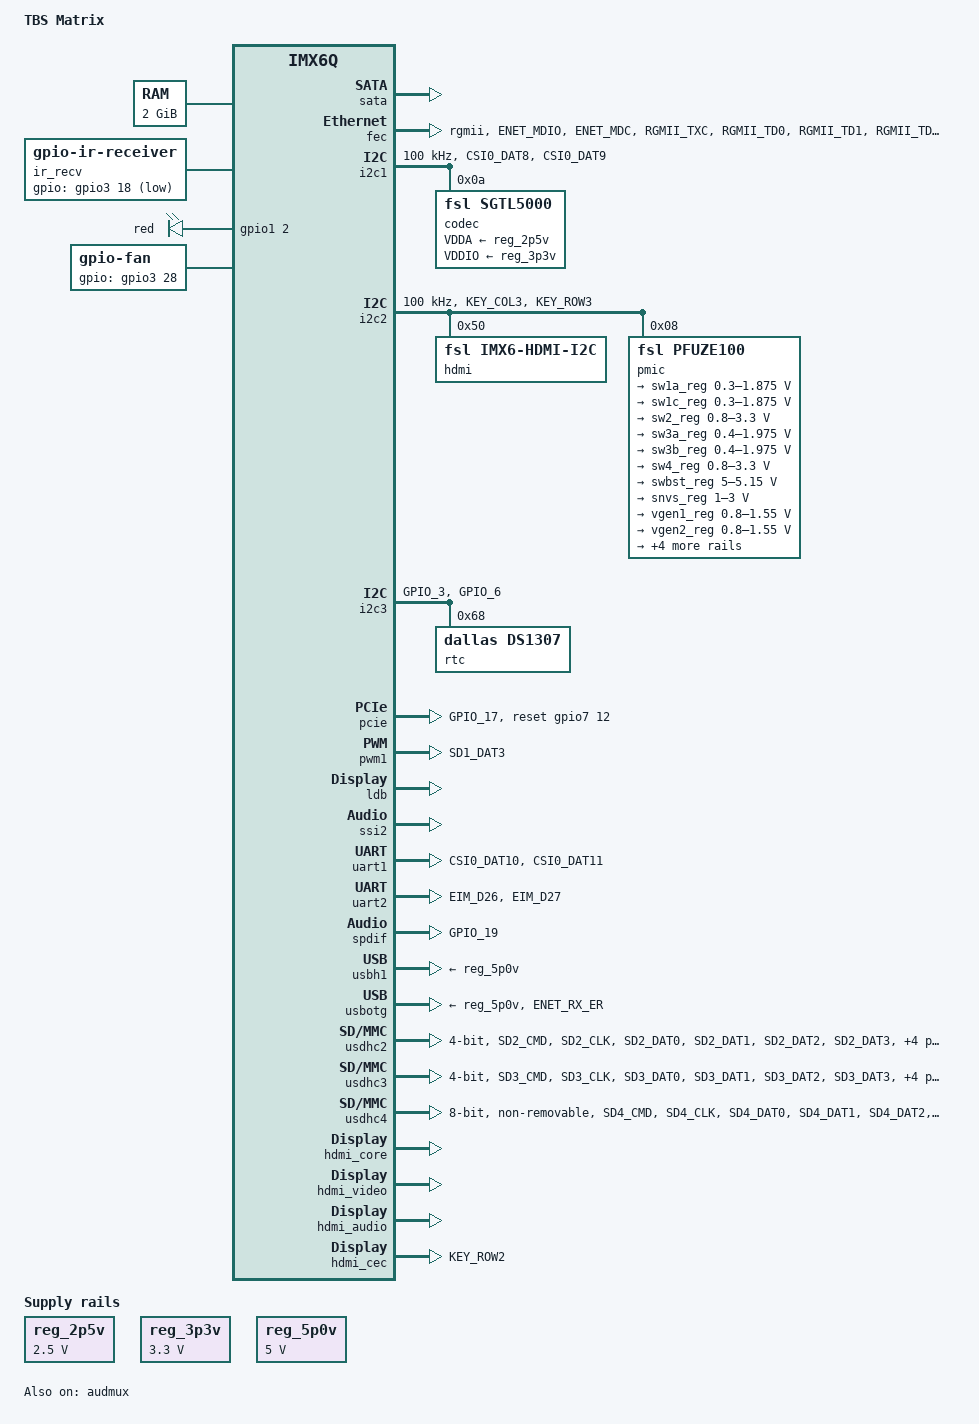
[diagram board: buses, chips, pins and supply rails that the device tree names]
/*
 * Copyright 2012 Freescale Semiconductor, Inc.
 * Copyright 2011 Linaro Ltd.
 *
 * The code contained herein is licensed under the GNU General Public
 * License. You may obtain a copy of the GNU General Public License
 * Version 2 or later at the following locations:
 *
 * http://www.opensource.org/licenses/gpl-license.html
 * http://www.gnu.org/copyleft/gpl.html
 */

/dts-v1/;

#include "imx6q.dtsi"
#include <dt-bindings/gpio/gpio.h>
#include <dt-bindings/input/input.h>

/ {
	model = "TBS Matrix";
	compatible = "fsl,imx6q-sabresd", "fsl,imx6q";

	aliases {
		mxcfb0 = &mxcfb1;
		mxcfb1 = &mxcfb2;
		mxcfb2 = &mxcfb3;
		mxcfb3 = &mxcfb4;
		mmc0 = &usdhc4;
	};

	chosen {
		stdout-path = &uart1;
	};

	memory {
		reg = <0x10000000 0x80000000>;
	};

	regulators {
		compatible = "simple-bus";
		#address-cells = <1>;
		#size-cells = <0>;

		reg_2p5v: regulator@0 {
			compatible = "regulator-fixed";
			reg = <0>;
			regulator-name = "2P5V";
			regulator-min-microvolt = <2500000>;
			regulator-max-microvolt = <2500000>;
		};

		reg_3p3v: regulator@1 {
			compatible = "regulator-fixed";
			reg = <1>;
			regulator-name = "3P3V";
			regulator-min-microvolt = <3300000>;
			regulator-max-microvolt = <3300000>;
		};

		reg_5p0v: regulator@2 {
			compatible = "regulator-fixed";
			reg = <2>;
			regulator-name = "5P0V";
			regulator-min-microvolt = <5000000>;
			regulator-max-microvolt = <5000000>;
		};
	};

	ir_recv: ir-receiver {
		compatible = "gpio-ir-receiver";
		gpios = <&gpio3 18 GPIO_ACTIVE_LOW>;
		pinctrl-names = "default";
		pinctrl-0 = <&pinctrl_ir>;
		linux,rc-map-name = "rc-rc6-mce";
	};

	leds {
		compatible = "gpio-leds";
		pinctrl-names = "default";
		pinctrl-0 = <&pinctrl_gpio_leds>;

		red {
			label = "red";
			gpios = <&gpio1 2 GPIO_ACTIVE_HIGH>;
			linux,default-trigger = "heartbeat";
		};
	};

	fan {
		compatible = "gpio-fan";
		pinctrl-names = "default";
		pinctrl-0 = <&pinctrl_gpio_fan>;
		gpios = <&gpio3 28 GPIO_ACTIVE_HIGH>;
		gpio-fan,speed-map = <0    0
		                      3000 1>;
	};

	sound {
		compatible = "fsl,imx-audio-sgtl5000";
		model = "imx-sgtl5000";
		cpu-dai = <&ssi2>;
		audio-codec = <&codec>;
		audio-routing = "MIC_IN", "Mic Jack",
		                "Mic Jack", "Mic Bias",
		                "Headphone Jack", "HP_OUT";
		mux-int-port = <2>;
		mux-ext-port = <3>;
	};

	sound-spdif {
		compatible = "fsl,imx-audio-spdif";
		model = "imx-spdif";
		spdif-controller = <&spdif>;
		spdif-out;
	};

	sound-hdmi {
		compatible = "fsl,imx6q-audio-hdmi",
		             "fsl,imx-audio-hdmi";
		model = "imx-audio-hdmi";
		hdmi-controller = <&hdmi_audio>;
	};

	mxcfb1: fb@0 {
		compatible = "fsl,mxc_sdc_fb";
		disp_dev = "ldb";
		interface_pix_fmt = "RGB666";
		mode_str ="LDB-XGA";
		default_bpp = <16>;
		int_clk = <0>;
		late_init = <0>;
		status = "okay";
	};

	mxcfb2: fb@1 {
		compatible = "fsl,mxc_sdc_fb";
		disp_dev = "hdmi";
		interface_pix_fmt = "RGB24";
		mode_str ="1920x1080M@60";
		default_bpp = <24>;
		int_clk = <0>;
		late_init = <0>;
		status = "disabled";
	};

	mxcfb3: fb@2 {
		compatible = "fsl,mxc_sdc_fb";
		disp_dev = "lcd";
		interface_pix_fmt = "RGB565";
		mode_str ="CLAA-WVGA";
		default_bpp = <16>;
		int_clk = <0>;
		late_init = <0>;
		status = "disabled";
	};

	mxcfb4: fb@3 {
		compatible = "fsl,mxc_sdc_fb";
		disp_dev = "ldb";
		interface_pix_fmt = "RGB666";
		mode_str ="LDB-XGA";
		default_bpp = <16>;
		int_clk = <0>;
		late_init = <0>;
		status = "disabled";
	};

	v4l2_out {
		compatible = "fsl,mxc_v4l2_output";
		status = "okay";
	};

	restart_poweroff {
		compatible = "fsl,snvs-poweroff";
	};
};

&sata {
	status = "okay";
};

&audmux {
	pinctrl-names = "default";
	pinctrl-0 = <&pinctrl_audmux>;
	status = "okay";
};

&fec {
	pinctrl-names = "default";
	pinctrl-0 = <&pinctrl_enet>;
	phy-mode = "rgmii";
	phy-reset-gpios = <&gpio1 25 GPIO_ACTIVE_HIGH>;
	status = "okay";
};

&i2c1 {
	clock-frequency = <100000>;
	pinctrl-names = "default";
	pinctrl-0 = <&pinctrl_i2c1>;
	status = "okay";

	codec: sgtl5000@0a {
		clocks = <&clks 201>;
		compatible = "fsl,sgtl5000";
		reg = <0x0a>;
		pinctrl-names = "default";
		pinctrl-0 = <&pinctrl_sgtl5000>;
		VDDA-supply = <&reg_2p5v>;
		VDDIO-supply = <&reg_3p3v>;
	};
};

&i2c2 {
	clock-frequency = <100000>;
	pinctrl-names = "default";
	pinctrl-0 = <&pinctrl_i2c2>;
	status = "okay";

	hdmi: edid@50 {
		compatible = "fsl,imx6-hdmi-i2c";
		reg = <0x50>;
	};

	pmic: pfuze100@08 {
		compatible = "fsl,pfuze100";
		reg = <0x08>;

		regulators {
			sw1a_reg: sw1ab {
				regulator-min-microvolt = <300000>;
				regulator-max-microvolt = <1875000>;
				regulator-boot-on;
				regulator-always-on;
				regulator-ramp-delay = <6250>;
			};

			sw1c_reg: sw1c {
				regulator-min-microvolt = <300000>;
				regulator-max-microvolt = <1875000>;
				regulator-boot-on;
				regulator-always-on;
				regulator-ramp-delay = <6250>;
			};

			sw2_reg: sw2 {
				regulator-min-microvolt = <800000>;
				regulator-max-microvolt = <3300000>;
				regulator-boot-on;
				regulator-always-on;
			};

			sw3a_reg: sw3a {
				regulator-min-microvolt = <400000>;
				regulator-max-microvolt = <1975000>;
				regulator-boot-on;
				regulator-always-on;
			};

			sw3b_reg: sw3b {
				regulator-min-microvolt = <400000>;
				regulator-max-microvolt = <1975000>;
				regulator-boot-on;
				regulator-always-on;
			};

			sw4_reg: sw4 {
				regulator-min-microvolt = <800000>;
				regulator-max-microvolt = <3300000>;
			};

			swbst_reg: swbst {
				regulator-min-microvolt = <5000000>;
				regulator-max-microvolt = <5150000>;
			};

			snvs_reg: vsnvs {
				regulator-min-microvolt = <1000000>;
				regulator-max-microvolt = <3000000>;
				regulator-boot-on;
				regulator-always-on;
			};

			vref_reg: vrefddr {
				regulator-boot-on;
				regulator-always-on;
			};

			vgen1_reg: vgen1 {
				regulator-min-microvolt = <800000>;
				regulator-max-microvolt = <1550000>;
			};

			vgen2_reg: vgen2 {
				regulator-min-microvolt = <800000>;
				regulator-max-microvolt = <1550000>;
			};

			vgen3_reg: vgen3 {
				regulator-min-microvolt = <1800000>;
				regulator-max-microvolt = <3300000>;
			};

			vgen4_reg: vgen4 {
				regulator-min-microvolt = <1800000>;
				regulator-max-microvolt = <3300000>;
				regulator-always-on;
			};

			vgen5_reg: vgen5 {
				regulator-min-microvolt = <1800000>;
				regulator-max-microvolt = <3300000>;
				regulator-always-on;
			};

			vgen6_reg: vgen6 {
				regulator-min-microvolt = <1800000>;
				regulator-max-microvolt = <3300000>;
				regulator-always-on;
			};
		};
	};
};

&i2c3 {
	pinctrl-names = "default";
	pinctrl-0 = <&pinctrl_i2c3>;
	status = "okay";

	rtc: ds1307@68 {
		compatible = "dallas,ds1307";
		reg = <0x68>;
	};
};

&iomuxc {
	pinctrl-names = "default";
	pinctrl-0 = <&pinctrl_hog>;

	imx6qdl-sabresd {
		pinctrl_hog: hoggrp {
			fsl,pins = <
				MX6QDL_PAD_NANDF_CS0__GPIO6_IO11  0x80000000  /* HUB_GPIO_RST */
				MX6QDL_PAD_NANDF_CS1__GPIO6_IO14  0x80000000  /* eMMC_RST */
			>;
		};

		pinctrl_sgtl5000: sgtl5000grp {
			fsl,pins = <
				MX6QDL_PAD_GPIO_0__CCM_CLKO1      0x130b0
			>;
		};

		pinctrl_audmux: audmuxgrp {
			fsl,pins = <
				MX6QDL_PAD_CSI0_DAT7__AUD3_RXD    0x130b0
				MX6QDL_PAD_CSI0_DAT4__AUD3_TXC    0x130b0
				MX6QDL_PAD_CSI0_DAT5__AUD3_TXD    0x110b0
				MX6QDL_PAD_CSI0_DAT6__AUD3_TXFS   0x130b0
			>;
		};

		pinctrl_ecspi1: ecspi1grp {
			fsl,pins = <
				MX6QDL_PAD_KEY_COL1__ECSPI1_MISO  0x100b1
				MX6QDL_PAD_KEY_ROW0__ECSPI1_MOSI  0x100b1
				MX6QDL_PAD_KEY_COL0__ECSPI1_SCLK  0x100b1
			>;
		};

		pinctrl_enet: enetgrp {
			fsl,pins = <
				MX6QDL_PAD_ENET_MDIO__ENET_MDIO       0x1b0b0
				MX6QDL_PAD_ENET_MDC__ENET_MDC         0x1b0b0
				MX6QDL_PAD_RGMII_TXC__RGMII_TXC       0x1b0b0
				MX6QDL_PAD_RGMII_TD0__RGMII_TD0       0x1b0b0
				MX6QDL_PAD_RGMII_TD1__RGMII_TD1       0x1b0b0
				MX6QDL_PAD_RGMII_TD2__RGMII_TD2       0x1b0b0
				MX6QDL_PAD_RGMII_TD3__RGMII_TD3       0x1b0b0
				MX6QDL_PAD_RGMII_TX_CTL__RGMII_TX_CTL 0x1b0b0
				MX6QDL_PAD_ENET_REF_CLK__ENET_TX_CLK  0x1b0b0
				MX6QDL_PAD_RGMII_RXC__RGMII_RXC       0x1b0b0
				MX6QDL_PAD_RGMII_RD0__RGMII_RD0       0x1b0b0
				MX6QDL_PAD_RGMII_RD1__RGMII_RD1       0x1b0b0
				MX6QDL_PAD_RGMII_RD2__RGMII_RD2       0x1b0b0
				MX6QDL_PAD_RGMII_RD3__RGMII_RD3       0x1b0b0
				MX6QDL_PAD_RGMII_RX_CTL__RGMII_RX_CTL 0x1b0b0
				MX6QDL_PAD_GPIO_16__ENET_REF_CLK      0x4001b0a8
				MX6QDL_PAD_ENET_CRS_DV__GPIO1_IO25    0x1b059
			>;
		};

		pinctrl_ir: sabresd-ir {
			fsl,pins = <
				MX6QDL_PAD_EIM_D18__GPIO3_IO18  0x17059
			>;
		};

		pinctrl_sabresd_spdif: sabresd-spdif {
			fsl,pins = <MX6QDL_PAD_GPIO_19__SPDIF_OUT  0x13091>;
		};

		pinctrl_hdmi_cec: hdmi_cecgrp {
			fsl,pins = <
				MX6QDL_PAD_KEY_ROW2__HDMI_TX_CEC_LINE  0x1f8b0
			>;
		};

		pinctrl_hdmi_hdcp: hdmi_hdcpgrp {
			fsl,pins = <
				MX6QDL_PAD_KEY_COL3__HDMI_TX_DDC_SCL  0x4001b8b1
				MX6QDL_PAD_KEY_ROW3__HDMI_TX_DDC_SDA  0x4001b8b1
			>;
		};

		pinctrl_i2c1: i2c1grp {
			fsl,pins = <
				MX6QDL_PAD_CSI0_DAT8__I2C1_SDA  0x4001b8b1
				MX6QDL_PAD_CSI0_DAT9__I2C1_SCL  0x4001b8b1
			>;
		};

		pinctrl_i2c2: i2c2grp {
			fsl,pins = <
				MX6QDL_PAD_KEY_COL3__I2C2_SCL  0x4001b8b1
				MX6QDL_PAD_KEY_ROW3__I2C2_SDA  0x4001b8b1
			>;
		};

		pinctrl_i2c3: i2c3grp {
			fsl,pins = <
				MX6QDL_PAD_GPIO_3__I2C3_SCL  0x4001b8b1
				MX6QDL_PAD_GPIO_6__I2C3_SDA  0x4001b8b1
			>;
		};

		pinctrl_pcie: pciegrp {
			fsl,pins = <
				MX6QDL_PAD_GPIO_17__GPIO7_IO12  0x17059
			>;
		};

		pinctrl_pwm1: pwm1grp {
			fsl,pins = <
				MX6QDL_PAD_SD1_DAT3__PWM1_OUT  0x1b0b1
			>;
		};

		pinctrl_uart1: uart1grp {
			fsl,pins = <
				MX6QDL_PAD_CSI0_DAT10__UART1_TX_DATA  0x1b0b1
				MX6QDL_PAD_CSI0_DAT11__UART1_RX_DATA  0x1b0b1
			>;
		};

		pinctrl_uart2: uart2grp {
			fsl,pins = <
				MX6QDL_PAD_EIM_D26__UART2_TX_DATA  0x1b0b1
				MX6QDL_PAD_EIM_D27__UART2_RX_DATA  0x1b0b1
			>;
		};

		pinctrl_usbotg: usbotggrp {
			fsl,pins = <
				MX6QDL_PAD_ENET_RX_ER__USB_OTG_ID  0x17059
			>;
		};

		pinctrl_usdhc2: usdhc2grp {
			fsl,pins = <
				MX6QDL_PAD_SD2_CMD__SD2_CMD      0x17059
				MX6QDL_PAD_SD2_CLK__SD2_CLK      0x10059
				MX6QDL_PAD_SD2_DAT0__SD2_DATA0   0x17059
				MX6QDL_PAD_SD2_DAT1__SD2_DATA1   0x17059
				MX6QDL_PAD_SD2_DAT2__SD2_DATA2   0x17059
				MX6QDL_PAD_SD2_DAT3__SD2_DATA3   0x17059
				MX6QDL_PAD_NANDF_D2__GPIO2_IO02  0x17059
				MX6QDL_PAD_NANDF_D3__GPIO2_IO03  0x17059
			>;
		};

		pinctrl_usdhc3: usdhc3grp {
			fsl,pins = <
				MX6QDL_PAD_SD3_CMD__SD3_CMD      0x17059
				MX6QDL_PAD_SD3_CLK__SD3_CLK      0x10059
				MX6QDL_PAD_SD3_DAT0__SD3_DATA0   0x17059
				MX6QDL_PAD_SD3_DAT1__SD3_DATA1   0x17059
				MX6QDL_PAD_SD3_DAT2__SD3_DATA2   0x17059
				MX6QDL_PAD_SD3_DAT3__SD3_DATA3   0x17059
				MX6QDL_PAD_NANDF_D0__GPIO2_IO00  0x17059
				MX6QDL_PAD_NANDF_D1__GPIO2_IO01  0x17059
			>;
		};

		pinctrl_usdhc4: usdhc4grp {
			fsl,pins = <
				MX6QDL_PAD_SD4_CMD__SD4_CMD      0x17059
				MX6QDL_PAD_SD4_CLK__SD4_CLK      0x10059
				MX6QDL_PAD_SD4_DAT0__SD4_DATA0   0x17059
				MX6QDL_PAD_SD4_DAT1__SD4_DATA1   0x17059
				MX6QDL_PAD_SD4_DAT2__SD4_DATA2   0x17059
				MX6QDL_PAD_SD4_DAT3__SD4_DATA3   0x17059
				MX6QDL_PAD_SD4_DAT4__SD4_DATA4   0x17059
				MX6QDL_PAD_SD4_DAT5__SD4_DATA5   0x17059
				MX6QDL_PAD_SD4_DAT6__SD4_DATA6   0x17059
				MX6QDL_PAD_SD4_DAT7__SD4_DATA7   0x17059
			>;
		};
	};

	gpio_leds {
		pinctrl_gpio_leds: gpioledsgrp {
			fsl,pins = <
				MX6QDL_PAD_GPIO_2__GPIO1_IO02  0x130b1
			>;
		};
	};

	gpio_fan {
		pinctrl_gpio_fan: gpiofangrp {
			fsl,pins = <
				MX6QDL_PAD_EIM_D28__GPIO3_IO28  0x130b1
			>;
		};
	};
};

&pcie {
	pinctrl-names = "default";
	pinctrl-0 = <&pinctrl_pcie>;
	power-on-gpio = <&gpio3 19 0>;
	reset-gpio = <&gpio7 12 GPIO_ACTIVE_HIGH>;
	status = "okay";
};

&pwm1 {
	pinctrl-names = "default";
	pinctrl-0 = <&pinctrl_pwm1>;
	status = "okay";
};

&ldb {
	ipu_id = <1>;
	disp_id = <1>;
	ext_ref = <1>;
	mode = "sep1";
	sec_ipu_id = <1>;
	sec_disp_id = <0>;
	status = "okay";
};

&ssi2 {
	fsl,mode = "i2s-slave";
	status = "okay";
};

&uart1 {
	pinctrl-names = "default";
	pinctrl-0 = <&pinctrl_uart1>;
	status = "okay";
};

&uart2 {
	pinctrl-names = "default";
	pinctrl-0 = <&pinctrl_uart2>;
	status = "okay";
};

&spdif {
	pinctrl-names = "default";
	pinctrl-0 = <&pinctrl_sabresd_spdif>;
	status = "okay";
};

&usbh1 {
	vbus-supply = <&reg_5p0v>;
	status = "okay";
};

&usbotg {
	vbus-supply = <&reg_5p0v>;
	pinctrl-names = "default";
	pinctrl-0 = <&pinctrl_usbotg>;
	disable-over-current;
	status = "okay";
};

&usdhc2 {
	pinctrl-names = "default";
	pinctrl-0 = <&pinctrl_usdhc2>;
	bus-width = <4>;
	cd-gpios = <&gpio2 2 GPIO_ACTIVE_HIGH>;
	wp-gpios = <&gpio2 3 GPIO_ACTIVE_HIGH>;
	card-external-vcc-supply = <&reg_3p3v>;
	status = "okay";
};

&usdhc3 {
	pinctrl-names = "default";
	pinctrl-0 = <&pinctrl_usdhc3>;
	bus-width = <4>;
	cd-gpios = <&gpio2 0 GPIO_ACTIVE_HIGH>;
	wp-gpios = <&gpio2 1 GPIO_ACTIVE_HIGH>;
	card-external-vcc-supply = <&reg_3p3v>;
	status = "okay";
};

&usdhc4 {
	pinctrl-names = "default";
	pinctrl-0 = <&pinctrl_usdhc4>;
	bus-width = <8>;
	non-removable;
	no-1-8-v;
	status = "okay";
};

&hdmi_core {
	ipu_id = <0>;
	disp_id = <0>;
	status = "okay";
};

&hdmi_video {
	fsl,phy_reg_vlev = <0x0294>;
	fsl,phy_reg_cksymtx = <0x800d>;
	status = "okay";
};

&hdmi_audio {
	status = "okay";
};

&hdmi_cec {
	pinctrl-names = "default";
	pinctrl-0 = <&pinctrl_hdmi_cec>;
	status = "okay";
};

&gpc {
	fsl,cpu_pupscr_sw2iso = <0xf>;
	fsl,cpu_pupscr_sw = <0xf>;
	fsl,cpu_pdnscr_iso2sw = <0x1>;
	fsl,cpu_pdnscr_iso = <0x1>;
};
